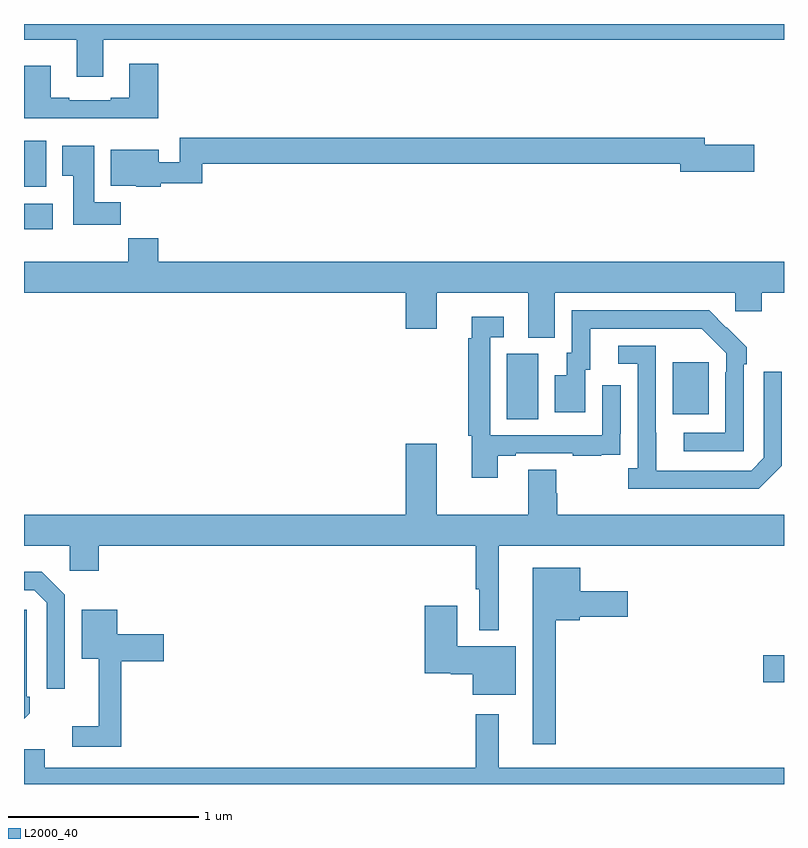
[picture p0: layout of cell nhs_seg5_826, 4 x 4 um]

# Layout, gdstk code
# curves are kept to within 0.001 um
import gdstk
lib = gdstk.Library(unit=1e-6, precision=1e-09)
def R(c, l, rs):  # rectangles x0, y0, x1, y1
    for r in rs: c.add(gdstk.rectangle(r[:2], r[2:], *l))
def P(c, l, *ps):  # polygons
    for p in ps: c.add(gdstk.Polygon(p, *l))
L2000_40 = (2000, 40)

nhs_seg5_826 = lib.new_cell('nhs_seg5_826')
R(nhs_seg5_826, L2000_40, [(166.89,897.334,167,897.476), (165.542,898.72,165.706,899.064), (166.415,898.745,166.603,899.02), (163,899.72,163.15,899.854), (163,899.942,163.117,900.184)])
P(nhs_seg5_826, L2000_40, [(163.417,900.716),(167,900.716),(167,900.799),(163,900.799),(163,900.716),(163.277,900.716),(163.277,900.522),(163.417,900.522)],
  [(163.706,900.589),(163.553,900.589),(163.553,900.412),(163.457,900.412),(163.457,900.399),(163.237,900.399),(163.237,900.412),(163.141,900.412),(163.141,900.58),(163,900.58),(163,900.483),(163.001,900.483),(163.001,900.302),(163.706,900.302)],
  [(163.721,899.961),(163.937,899.961),(163.937,900.064),(166.454,900.064),(166.454,900.022),(166.843,900.022),(166.843,900.164),(166.582,900.164),(166.582,900.2),(163.821,900.2),(163.821,900.072),(163.708,900.072),(163.708,900.136),(163.457,900.136),(163.457,899.948),(163.59,899.948),(163.59,899.942),(163.721,899.942)],
  [(163.508,899.86),(163.369,899.86),(163.369,900.157),(163.202,900.157),(163.202,900.001),(163.259,900.001),(163.259,899.742),(163.508,899.742)],
  [(165.793,899.384),(166.743,899.384),(166.743,899.286),(166.882,899.286),(166.882,899.384),(167,899.384),(167,899.548),(163.706,899.548),(163.706,899.672),(163.549,899.672),(163.549,899.548),(163,899.548),(163,899.384),(165.008,899.384),(165.008,899.196),(165.172,899.196),(165.172,899.384),(165.653,899.384),(165.653,899.149),(165.793,899.149)],
  [(166.788,899.009),(166.803,899.009),(166.803,899.097),(166.606,899.292),(165.882,899.292),(165.882,899.07),(165.857,899.07),(165.857,898.951),(165.794,898.951),(165.794,898.755),(165.955,898.755),(165.955,898.98),(165.979,898.98),(165.979,899.196),(166.567,899.196),(166.695,899.067),(166.695,898.967),(166.692,898.967),(166.692,898.647),(166.473,898.647),(166.473,898.551),(166.788,898.551)],
  [(165.493,898.527),(165.589,898.527),(165.589,898.539),(165.889,898.539),(165.889,898.527),(166.037,898.527),(166.037,898.533),(166.139,898.533),(166.139,898.642),(166.14,898.642),(166.14,898.897),(166.044,898.897),(166.044,898.635),(165.453,898.635),(165.453,899.151),(165.526,899.151),(165.526,899.257),(165.356,899.257),(165.356,899.144),(165.337,899.144),(165.337,898.632),(165.356,898.632),(165.356,898.41),(165.493,898.41)],
  [(166.989,898.473),(166.989,898.969),(166.893,898.969),(166.893,898.515),(166.827,898.449),(166.327,898.449),(166.326,899.106),(166.128,899.106),(166.128,899.01),(166.23,899.01),(166.23,898.462),(166.179,898.462),(166.179,898.352),(166.868,898.352)],
  [(165.499,898.052),(167,898.052),(167,898.216),(165.806,898.216),(165.806,898.329),(165.801,898.329),(165.801,898.454),(165.653,898.454),(165.653,898.216),(165.172,898.216),(165.172,898.591),(165.008,898.591),(165.008,898.216),(163,898.216),(163,898.052),(163.242,898.052),(163.242,897.921),(163.394,897.921),(163.394,898.052),(165.378,898.052),(165.378,897.823),(165.395,897.823),(165.395,897.608),(165.499,897.608)],
  [(165.799,897.662),(165.924,897.662),(165.924,897.68),(166.177,897.68),(166.177,897.814),(165.928,897.814),(165.928,897.937),(165.677,897.937),(165.677,897.009),(165.799,897.009)],
  [(163.215,897.795),(163.094,897.916),(163,897.916),(163,897.819),(163.053,897.819),(163.119,897.753),(163.119,897.3),(163.215,897.3)],
  [(165.589,897.523),(165.28,897.523),(165.28,897.736),(165.11,897.736),(165.11,897.383),(165.246,897.383),(165.246,897.376),(165.362,897.376),(165.362,897.269),(165.589,897.269)],
  [(163.029,897.171),(163.029,897.259),(163.014,897.259),(163.014,897.717),(163,897.717),(163,897.142)],
  [(163.511,897.446),(163.735,897.446),(163.735,897.588),(163.492,897.588),(163.492,897.715),(163.304,897.715),(163.304,897.458),(163.394,897.458),(163.394,897.103),(163.254,897.103),(163.254,896.994),(163.511,896.994)],
  [(163.108,896.982),(163,896.982),(163,896.799),(167,896.799),(167,896.884),(165.499,896.884),(165.499,897.166),(165.378,897.166),(165.378,896.884),(163.108,896.884)])

lib.write_gds('nhs_seg5_826.gds')
